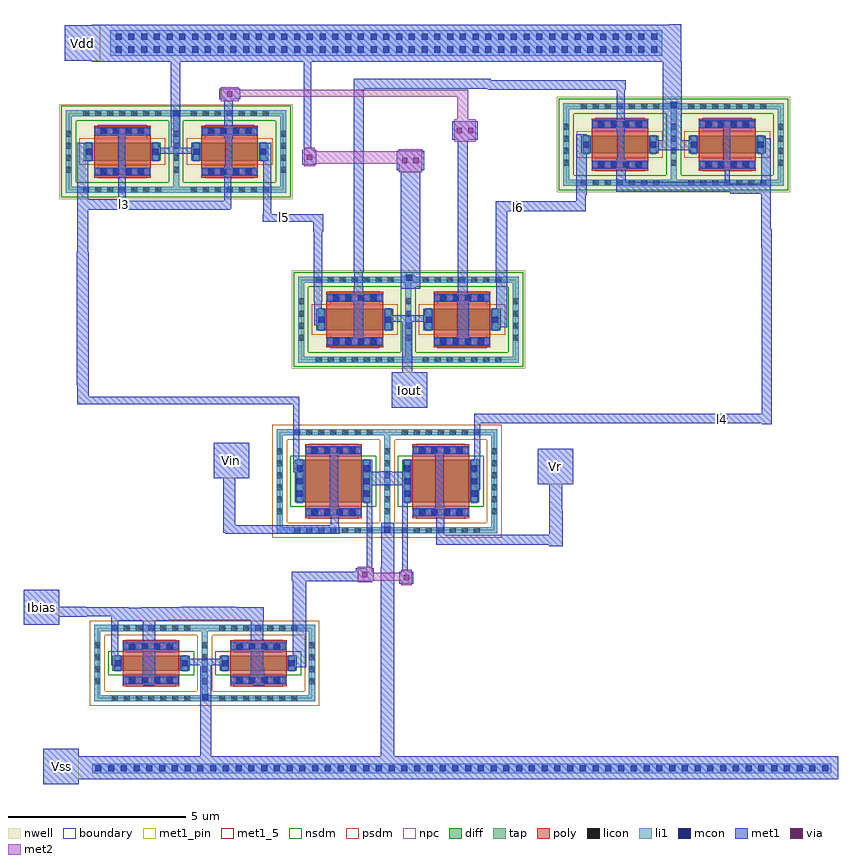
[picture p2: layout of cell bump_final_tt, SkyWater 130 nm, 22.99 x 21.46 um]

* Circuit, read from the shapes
.subckt bump_final_tt Ibias Iout Vdd Vin Vr Vss l3 l4 l5 l6
XM1 Vss Ibias Ibias Vss sky130_fd_pr__nfet_01v8 w=0.42 l=1.6
XM2 n1 Ibias Vss Vss sky130_fd_pr__nfet_01v8 w=0.42 l=1.6
XM3 n1 Vin l3 Vss sky130_fd_pr__nfet_01v8 w=1.2 l=1.6
XM4 l4 Vr n1 Vss sky130_fd_pr__nfet_01v8 w=1.2 l=1.6
XM5 Vdd l3 l3 Vdd sky130_fd_pr__pfet_01v8 w=0.5 l=1.6
XM6 l5 l3 Vdd Vdd sky130_fd_pr__pfet_01v8 w=0.5 l=1.6
XM7 Iout l4 l5 Vdd sky130_fd_pr__pfet_01v8 w=0.6 l=1.6
XM8 l6 l3 Iout Vdd sky130_fd_pr__pfet_01v8 w=0.6 l=1.6
XM9 Vdd l4 l6 Vdd sky130_fd_pr__pfet_01v8 w=0.5 l=1.6
XM10 l4 l4 Vdd Vdd sky130_fd_pr__pfet_01v8 w=0.5 l=1.6
.ends

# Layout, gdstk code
import gdstk
lib = gdstk.Library(unit=1e-6, precision=1e-09)
def R(c, l, rs):  # rectangles x0, y0, x1, y1
    for r in rs: c.add(gdstk.rectangle(r[:2], r[2:], *l))
def A(c, l, x, y, w, h, nx, ny, dx, dy):  # array of equal rectangles
    R(c, l, [(x+i*dx, y+j*dy, x+i*dx+w, y+j*dy+h) for i in range(nx) for j in range(ny)])
nwell = (64, 20)
diff = (65, 20)
tap = (65, 44)
poly = (66, 20)
licon = (66, 44)
li1 = (67, 20)
mcon = (67, 44)
met1_5 = (68, 5)
met1_pin = (68, 16)
met1 = (68, 20)
via = (68, 44)
met2 = (69, 20)
nsdm = (93, 44)
psdm = (94, 20)
npc = (95, 20)
boundary = (235, 4)

sky130_fd_pr__nfet_01v8_ = lib.new_cell('sky130_fd_pr__nfet_01v8_484FDA')
R(sky130_fd_pr__nfet_01v8_, diff, [(-1.09,-0.21,1.09,0.21)])
R(sky130_fd_pr__nfet_01v8_, tap, [(-1.6,-1.08,1.6,-0.91), (-1.6,-0.91,-1.43,0.91), (1.43,-0.91,1.6,0.91), (-1.6,0.91,1.6,1.08)])
R(sky130_fd_pr__nfet_01v8_, poly, [(-0.8,-0.65,0.8,0.65)])
A(sky130_fd_pr__nfet_01v8_, licon, -1.105, -1.08, 0.17, 0.17, 7, 2, 0.34, 1.99)
A(sky130_fd_pr__nfet_01v8_, licon, -1.6, -0.595, 0.17, 0.17, 1, 4, 0, 0.34)
A(sky130_fd_pr__nfet_01v8_, licon, 1.43, -0.595, 0.17, 0.17, 1, 4, 0, 0.34)
A(sky130_fd_pr__nfet_01v8_, licon, -0.595, -0.57, 0.17, 0.17, 4, 2, 0.34, 0.97)
R(sky130_fd_pr__nfet_01v8_, licon, [(-1.03,-0.085,-0.86,0.085), (0.86,-0.085,1.03,0.085)])
R(sky130_fd_pr__nfet_01v8_, li1, [(-1.6,-1.08,1.6,-0.91), (-1.6,-0.91,-1.43,0.91), (1.43,-0.91,1.6,0.91), (-0.8,-0.57,0.8,-0.4), (-1.03,-0.23,-0.86,0.23), (0.86,-0.23,1.03,0.23), (-0.8,0.4,0.8,0.57), (-1.6,0.91,1.6,1.08)])
A(sky130_fd_pr__nfet_01v8_, mcon, -0.625, -0.57, 0.17, 0.17, 4, 2, 0.36, 0.97)
R(sky130_fd_pr__nfet_01v8_, mcon, [(-1.03,-0.085,-0.86,0.085), (0.86,-0.085,1.03,0.085)])
R(sky130_fd_pr__nfet_01v8_, met1, [(-0.78,-0.6,0.78,-0.37), (-1.06,-0.21,-0.83,0.21), (0.83,-0.21,1.06,0.21), (-0.78,0.37,0.78,0.6)])
R(sky130_fd_pr__nfet_01v8_, nsdm, [(-1.215,-0.335,1.215,0.335)])
R(sky130_fd_pr__nfet_01v8_, psdm, [(-1.725,-1.205,1.725,-0.785), (-1.725,-0.785,-1.305,0.785), (1.305,-0.785,1.725,0.785), (-1.725,0.785,1.725,1.205)])
R(sky130_fd_pr__nfet_01v8_, npc, [(-0.695,-0.67,0.695,-0.3), (-0.695,0.3,0.695,0.67)])
R(sky130_fd_pr__nfet_01v8_, boundary, [(-1.51,-0.99,1.51,0.99)])

c_sky130_fd_pr__nfet_01v8_ = lib.new_cell('sky130_fd_pr__nfet_01v8_7QMDBN')
R(c_sky130_fd_pr__nfet_01v8_, diff, [(-1.09,-0.6,1.09,0.6)])
R(c_sky130_fd_pr__nfet_01v8_, tap, [(-1.6,-1.47,1.6,-1.3), (-1.6,-1.3,-1.43,1.3), (1.43,-1.3,1.6,1.3), (-1.6,1.3,1.6,1.47)])
R(c_sky130_fd_pr__nfet_01v8_, poly, [(-0.8,-1.04,0.8,1.04)])
A(c_sky130_fd_pr__nfet_01v8_, licon, -1.105, -1.47, 0.17, 0.17, 7, 2, 0.34, 2.77)
A(c_sky130_fd_pr__nfet_01v8_, licon, -0.595, -0.96, 0.17, 0.17, 4, 2, 0.34, 1.75)
A(c_sky130_fd_pr__nfet_01v8_, licon, -1.6, -0.935, 0.17, 0.17, 1, 6, 0, 0.34)
A(c_sky130_fd_pr__nfet_01v8_, licon, 1.43, -0.935, 0.17, 0.17, 1, 6, 0, 0.34)
A(c_sky130_fd_pr__nfet_01v8_, licon, -1.03, -0.425, 0.17, 0.17, 1, 3, 0, 0.34)
A(c_sky130_fd_pr__nfet_01v8_, licon, 0.86, -0.425, 0.17, 0.17, 1, 3, 0, 0.34)
R(c_sky130_fd_pr__nfet_01v8_, li1, [(-1.6,-1.47,1.6,-1.3), (-1.6,-1.3,-1.43,1.3), (1.43,-1.3,1.6,1.3), (-0.8,-0.96,0.8,-0.79), (-1.03,-0.62,-0.86,0.62), (0.86,-0.62,1.03,0.62), (-0.8,0.79,0.8,0.96), (-1.6,1.3,1.6,1.47)])
A(c_sky130_fd_pr__nfet_01v8_, mcon, -0.625, -0.96, 0.17, 0.17, 4, 2, 0.36, 1.75)
A(c_sky130_fd_pr__nfet_01v8_, mcon, -1.03, -0.445, 0.17, 0.17, 1, 3, 0, 0.36)
A(c_sky130_fd_pr__nfet_01v8_, mcon, 0.86, -0.445, 0.17, 0.17, 1, 3, 0, 0.36)
R(c_sky130_fd_pr__nfet_01v8_, met1, [(-0.78,-0.99,0.78,-0.76), (-1.06,-0.6,-0.83,0.6), (0.83,-0.6,1.06,0.6), (-0.78,0.76,0.78,0.99)])
R(c_sky130_fd_pr__nfet_01v8_, nsdm, [(-1.215,-0.725,1.215,0.725)])
R(c_sky130_fd_pr__nfet_01v8_, psdm, [(-1.725,-1.595,1.725,-1.175), (-1.725,-1.175,-1.305,1.175), (1.305,-1.175,1.725,1.175), (-1.725,1.175,1.725,1.595)])
R(c_sky130_fd_pr__nfet_01v8_, npc, [(-0.695,-1.06,0.695,-0.69), (-0.695,0.69,0.695,1.06)])
R(c_sky130_fd_pr__nfet_01v8_, boundary, [(-1.51,-1.38,1.51,1.38)])

sky130_fd_pr__pfet_01v8_ = lib.new_cell('sky130_fd_pr__pfet_01v8_Q6Z9BJ')
R(sky130_fd_pr__pfet_01v8_, nwell, [(-1.78,-1.395,1.78,1.395)])
R(sky130_fd_pr__pfet_01v8_, diff, [(-1.09,-0.3,1.09,0.3)])
R(sky130_fd_pr__pfet_01v8_, tap, [(-1.6,-1.215,1.6,-1.045), (-1.6,-1.045,-1.43,1.045), (1.43,-1.045,1.6,1.045), (-1.6,1.045,1.6,1.215)])
R(sky130_fd_pr__pfet_01v8_, poly, [(-0.8,-0.785,0.8,0.785)])
A(sky130_fd_pr__pfet_01v8_, licon, -1.105, -1.215, 0.17, 0.17, 7, 2, 0.34, 2.26)
A(sky130_fd_pr__pfet_01v8_, licon, -0.595, -0.705, 0.17, 0.17, 4, 2, 0.34, 1.24)
A(sky130_fd_pr__pfet_01v8_, licon, -1.6, -0.595, 0.17, 0.17, 1, 4, 0, 0.34)
A(sky130_fd_pr__pfet_01v8_, licon, 1.43, -0.595, 0.17, 0.17, 1, 4, 0, 0.34)
R(sky130_fd_pr__pfet_01v8_, licon, [(-1.03,-0.085,-0.86,0.085), (0.86,-0.085,1.03,0.085)])
R(sky130_fd_pr__pfet_01v8_, li1, [(-1.6,-1.215,1.6,-1.045), (-1.6,-1.045,-1.43,1.045), (1.43,-1.045,1.6,1.045), (-0.8,-0.705,0.8,-0.535), (-1.03,-0.32,-0.86,0.32), (0.86,-0.32,1.03,0.32), (-0.8,0.535,0.8,0.705), (-1.6,1.045,1.6,1.215)])
A(sky130_fd_pr__pfet_01v8_, mcon, -0.625, -0.705, 0.17, 0.17, 4, 2, 0.36, 1.24)
R(sky130_fd_pr__pfet_01v8_, mcon, [(-1.03,-0.085,-0.86,0.085), (0.86,-0.085,1.03,0.085)])
R(sky130_fd_pr__pfet_01v8_, met1, [(-0.78,-0.735,0.78,-0.505), (-1.06,-0.3,-0.83,0.3), (0.83,-0.3,1.06,0.3), (-0.78,0.505,0.78,0.735)])
R(sky130_fd_pr__pfet_01v8_, nsdm, [(-1.725,-1.34,1.725,-0.92), (-1.725,-0.92,-1.305,0.92), (1.305,-0.92,1.725,0.92), (-1.725,0.92,1.725,1.34)])
R(sky130_fd_pr__pfet_01v8_, psdm, [(-1.215,-0.425,1.215,0.425)])
R(sky130_fd_pr__pfet_01v8_, npc, [(-0.695,-0.805,0.695,-0.435), (-0.695,0.435,0.695,0.805)])
R(sky130_fd_pr__pfet_01v8_, boundary, [(-1.515,-1.13,1.515,1.13)])

c_sky130_fd_pr__pfet_01v8_ = lib.new_cell('sky130_fd_pr__pfet_01v8_CQSSBJ')
R(c_sky130_fd_pr__pfet_01v8_, nwell, [(-1.78,-1.345,1.78,1.345)])
R(c_sky130_fd_pr__pfet_01v8_, diff, [(-1.09,-0.25,1.09,0.25)])
R(c_sky130_fd_pr__pfet_01v8_, tap, [(-1.6,-1.165,1.6,-0.995), (-1.6,-0.995,-1.43,0.995), (1.43,-0.995,1.6,0.995), (-1.6,0.995,1.6,1.165)])
R(c_sky130_fd_pr__pfet_01v8_, poly, [(-0.8,-0.735,0.8,0.735)])
A(c_sky130_fd_pr__pfet_01v8_, licon, -1.105, -1.165, 0.17, 0.17, 7, 2, 0.34, 2.16)
A(c_sky130_fd_pr__pfet_01v8_, licon, -0.595, -0.655, 0.17, 0.17, 4, 2, 0.34, 1.14)
A(c_sky130_fd_pr__pfet_01v8_, licon, -1.6, -0.595, 0.17, 0.17, 1, 4, 0, 0.34)
A(c_sky130_fd_pr__pfet_01v8_, licon, 1.43, -0.595, 0.17, 0.17, 1, 4, 0, 0.34)
R(c_sky130_fd_pr__pfet_01v8_, licon, [(-1.03,-0.085,-0.86,0.085), (0.86,-0.085,1.03,0.085)])
R(c_sky130_fd_pr__pfet_01v8_, li1, [(-1.6,-1.165,1.6,-0.995), (-1.6,-0.995,-1.43,0.995), (1.43,-0.995,1.6,0.995), (-0.8,-0.655,0.8,-0.485), (-1.03,-0.27,-0.86,0.27), (0.86,-0.27,1.03,0.27), (-0.8,0.485,0.8,0.655), (-1.6,0.995,1.6,1.165)])
A(c_sky130_fd_pr__pfet_01v8_, mcon, -0.625, -0.655, 0.17, 0.17, 4, 2, 0.36, 1.14)
R(c_sky130_fd_pr__pfet_01v8_, mcon, [(-1.03,-0.085,-0.86,0.085), (0.86,-0.085,1.03,0.085)])
R(c_sky130_fd_pr__pfet_01v8_, met1, [(-0.78,-0.685,0.78,-0.455), (-1.06,-0.25,-0.83,0.25), (0.83,-0.25,1.06,0.25), (-0.78,0.455,0.78,0.685)])
R(c_sky130_fd_pr__pfet_01v8_, nsdm, [(-1.725,-1.29,1.725,-0.87), (-1.725,-0.87,-1.305,0.87), (1.305,-0.87,1.725,0.87), (-1.725,0.87,1.725,1.29)])
R(c_sky130_fd_pr__pfet_01v8_, psdm, [(-1.215,-0.375,1.215,0.375)])
R(c_sky130_fd_pr__pfet_01v8_, npc, [(-0.695,-0.755,0.695,-0.385), (-0.695,0.385,0.695,0.755)])
R(c_sky130_fd_pr__pfet_01v8_, boundary, [(-1.515,-1.08,1.515,1.08)])

bump_final_tt = lib.new_cell('bump_final_tt')
R(bump_final_tt, li1, [(6.86,-18.7,27.73,-18.44), (9.95,-16.66,10.14,-16.46), (15.07,-11.91,15.3,-11.74), (15.68,-4.8,15.95,-4.63), (9.14,-0.15,9.31,0.02), (23.18,0.07,23.39,0.25), (7.37,1.55,22.96,2.27)])
A(bump_final_tt, mcon, 6.95, -18.655, 0.17, 0.17, 58, 1, 0.36, 0)
A(bump_final_tt, mcon, 7.52, 1.645, 0.17, 0.17, 43, 2, 0.36, 0.36)
R(bump_final_tt, mcon, [(9.96,-16.645,10.13,-16.475), (15.1,-11.91,15.27,-11.74), (15.73,-4.8,15.9,-4.63), (9.14,-0.15,9.31,0.02), (23.2,0.075,23.37,0.245)])
R(bump_final_tt, met1_5, [(24.54,-8.79,24.79,-8.67), (12.15,-3.08,12.4,-2.96), (18.76,-2.78,19.01,-2.66), (7.64,-2.71,7.89,-2.59)])
R(bump_final_tt, met1_pin, [(5.48,-19.01,6.48,-18.01), (4.93,-14.52,5.93,-13.52), (19.44,-10.55,20.44,-9.55), (10.29,-10.38,11.29,-9.38), (15.32,-8.39,16.32,-7.39), (6.08,1.41,7.08,2.41)])
R(bump_final_tt, met1, [(5.48,-19.01,6.48,-18.88), (5.48,-18.88,27.92,-18.23), (5.48,-18.23,6.48,-18.01), (9.91,-18.23,10.22,-15.65), (15.01,-18.23,15.39,-12.87), (8.32,-16.22,8.61,-16.13), (11.42,-16.22,11.71,-16.13), (8.28,-16.13,8.64,-14.4), (11.33,-16.13,11.71,-15.73), (11.33,-15.73,11.69,-14.38), (12.52,-15.71,12.9,-13.28), (7.39,-15.66,7.59,-14.4), (9.49,-15.65,10.61,-15.48), (4.93,-14.52,5.93,-14.29), (7.39,-14.4,9,-14.38), (7.39,-14.38,11.7,-14.28), (4.93,-14.29,6.69,-14.28), (4.93,-14.28,11.7,-14.03), (4.93,-14.03,7.88,-14.02), (8.25,-14.03,11.7,-14.02), (4.93,-14.02,6.69,-14), (9.36,-14.02,10.93,-14.01), (4.93,-14,5.93,-13.52), (15.53,-13.35,15.93,-13.01), (12.49,-13.28,14.77,-13.27), (12.49,-13.27,14.81,-13.01), (14.3,-13.01,14.81,-12.92), (15.61,-13.01,15.77,-10.58), (14.61,-12.92,14.77,-10.58), (15.02,-12.87,15.39,-11.63), (19.76,-12.3,20.14,-12.26), (16.57,-12.26,20.14,-11.97), (16.57,-11.97,16.8,-11.37), (19.76,-11.97,20.14,-11.28), (10.61,-11.95,13.84,-11.92), (10.56,-11.92,13.84,-11.7), (10.56,-11.7,10.9,-10.38), (13.6,-11.7,13.82,-11.31), (16.54,-11.37,16.8,-11.06), (13.56,-11.31,13.82,-11.13), (19.76,-11.28,20.13,-10.55), (13.56,-11.13,13.81,-9.59), (16.54,-11.06,16.79,-9.65), (17.64,-10.7,17.82,-8.83), (14.59,-10.58,15.77,-10.2), (19.44,-10.55,20.44,-9.55), (10.29,-10.38,11.29,-9.38), (12.53,-10.21,12.71,-8.28), (15.02,-10.2,15.32,-10.18), (25.77,-8.85,26.05,-8.83), (17.64,-8.83,26.05,-8.7), (17.65,-8.7,26.05,-8.55), (25.77,-8.55,26.05,-6.27), (15.32,-8.39,16.32,-7.39), (6.44,-8.29,6.76,-8.28), (6.44,-8.28,12.71,-8.21), (6.44,-8.21,12.7,-8.07), (6.44,-8.07,6.76,-7.73), (6.42,-7.73,6.76,-3.99), (15.62,-7.39,15.89,-5.96), (14.24,-6.58,14.51,-6.49), (17.17,-6.58,17.49,-5.24), (14.25,-6.49,14.51,-4.96), (25.77,-6.27,26.04,-3.86), (18.27,-6.11,18.58,-4.71), (13.13,-6.05,13.34,-5.38), (15.23,-5.96,16.32,-5.78), (13.12,-5.38,13.35,-3.42), (17.18,-5.24,17.46,-0.82), (15.57,-5.02,16.12,-1.68), (14.26,-4.96,14.5,-4.55), (18.26,-4.71,18.58,-2.84), (14.25,-4.55,14.53,0.62), (6.43,-3.99,6.75,-2.79), (25.75,-3.86,26.04,-3.34), (13.1,-3.42,13.38,-3.14), (25.75,-3.34,26.02,-2.35), (11.67,-3.14,13.38,-2.92), (11.69,-2.92,11.92,-0.91), (18.26,-2.84,20.8,-2.56), (7.6,-2.8,10.76,-2.79), (6.43,-2.79,10.76,-2.77), (6.43,-2.77,10.78,-2.54), (20.53,-2.56,20.8,-2.39), (6.43,-2.54,7.8,-2.5), (10.58,-2.54,10.78,-1.75), (6.43,-2.5,6.75,-0.91), (7.6,-2.5,7.8,-1.8), (20.53,-2.39,20.82,-0.66), (24.87,-2.35,26.02,-2.29), (21.66,-2.29,26.02,-2.06), (21.66,-2.06,24.88,-2), (25.75,-2.06,26.02,-0.78), (21.66,-2,21.92,-1.37), (24.72,-2,24.86,-1.56), (7.59,-1.8,7.8,-1.46), (10.58,-1.75,10.81,-1.54), (15.46,-1.68,16.23,-1.13), (24.68,-1.56,24.88,-0.33), (10.61,-1.54,10.81,-0.79), (12.79,-1.52,13.19,-1.1), (7.59,-1.46,7.79,-0.57), (21.68,-1.37,21.88,-0.65), (8.67,-1.22,9.85,-1.04), (22.66,-1.12,23.82,-0.83), (12.83,-1.1,13.04,1.38), (9.08,-1.04,9.34,1.38), (22.97,-0.83,23.5,1.38), (17.03,-0.82,17.74,-0.29), (10.59,-0.79,10.83,0.32), (21.67,-0.65,21.89,0.6), (10.44,0.32,11.04,0.62), (18.03,0.6,21.93,0.62), (14.25,0.62,21.93,0.86), (14.25,0.86,18.11,0.9), (6.85,1.38,23.49,1.41), (6.08,1.41,23.49,2.41), (6.85,2.41,23.49,2.43), (23.17,2.43,23.49,2.45)])
R(bump_final_tt, via, [(15.655,-13.255,15.805,-13.105), (14.48,-13.17,14.63,-13.02), (15.61,-1.48,15.76,-1.33), (15.93,-1.48,16.08,-1.33), (12.915,-1.385,13.065,-1.235), (17.15,-0.63,17.3,-0.48), (17.47,-0.63,17.62,-0.48), (10.665,0.395,10.815,0.545)])
R(bump_final_tt, met2, [(15.58,-13.4,15.88,-13.27), (14.35,-13.32,14.76,-13.27), (14.35,-13.27,15.88,-13.04), (14.35,-13.04,14.76,-12.87), (15.58,-13.04,15.88,-12.96), (15.51,-1.73,16.18,-1.5), (12.84,-1.57,13.14,-1.5), (12.84,-1.5,16.18,-1.14), (12.84,-1.14,13.14,-1.05), (15.51,-1.14,16.18,-1.08), (17.08,-0.87,17.69,-0.24), (17.16,-0.24,17.48,0.4), (10.49,0.27,10.99,0.39), (10.49,0.39,16.99,0.4), (10.49,0.4,17.48,0.59), (10.49,0.59,10.99,0.67)])
bump_final_tt.add(gdstk.Reference(sky130_fd_pr__nfet_01v8_, (8.52,-15.6)))
bump_final_tt.add(gdstk.Reference(sky130_fd_pr__nfet_01v8_, (11.55,-15.6)))
bump_final_tt.add(gdstk.Reference(c_sky130_fd_pr__nfet_01v8_, (13.67,-10.46)))
bump_final_tt.add(gdstk.Reference(c_sky130_fd_pr__nfet_01v8_, (16.7,-10.46)))
bump_final_tt.add(gdstk.Reference(sky130_fd_pr__pfet_01v8_, (14.27,-5.895)))
bump_final_tt.add(gdstk.Reference(sky130_fd_pr__pfet_01v8_, (17.3,-5.895)))
bump_final_tt.add(gdstk.Reference(c_sky130_fd_pr__pfet_01v8_, (7.71,-1.155)))
bump_final_tt.add(gdstk.Reference(c_sky130_fd_pr__pfet_01v8_, (10.74,-1.155)))
bump_final_tt.add(gdstk.Reference(c_sky130_fd_pr__pfet_01v8_, (21.76,-0.955)))
bump_final_tt.add(gdstk.Reference(c_sky130_fd_pr__pfet_01v8_, (24.79,-0.955)))
bump_final_tt.add(gdstk.Label('l3', (7.765,-2.65), layer=68, texttype=5))
bump_final_tt.add(gdstk.Label('l4', (24.665,-8.73), layer=68, texttype=5))
bump_final_tt.add(gdstk.Label('l5', (12.275,-3.02), layer=68, texttype=5))
bump_final_tt.add(gdstk.Label('l6', (18.885,-2.72), layer=68, texttype=5))
bump_final_tt.add(gdstk.Label('Vdd', (6.58,1.91), layer=68, texttype=5))
bump_final_tt.add(gdstk.Label('Iout', (15.82,-7.89), layer=68, texttype=5))
bump_final_tt.add(gdstk.Label('Vr', (19.94,-10.05), layer=68, texttype=5))
bump_final_tt.add(gdstk.Label('Vin', (10.79,-9.88), layer=68, texttype=5))
bump_final_tt.add(gdstk.Label('Ibias', (5.43,-14.02), layer=68, texttype=5))
bump_final_tt.add(gdstk.Label('Vss', (5.98,-18.51), layer=68, texttype=5))

lib.write_gds('bump_final_tt.gds')
